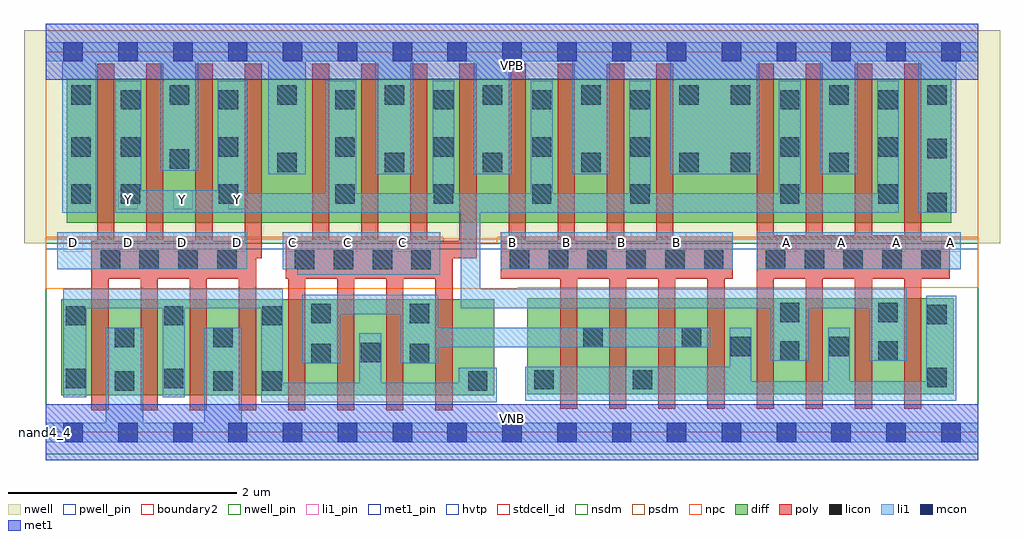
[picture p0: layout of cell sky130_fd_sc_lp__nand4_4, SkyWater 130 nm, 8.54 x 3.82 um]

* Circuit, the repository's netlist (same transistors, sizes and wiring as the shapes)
* Copyright 2020 The SkyWater PDK Authors
*
* Licensed under the Apache License, Version 2.0 (the "License");
* you may not use this file except in compliance with the License.
* You may obtain a copy of the License at
*
*     https://www.apache.org/licenses/LICENSE-2.0
*
* Unless required by applicable law or agreed to in writing, software
* distributed under the License is distributed on an "AS IS" BASIS,
* WITHOUT WARRANTIES OR CONDITIONS OF ANY KIND, either express or implied.
* See the License for the specific language governing permissions and
* limitations under the License.
*
* SPDX-License-Identifier: Apache-2.0

.SUBCKT sky130_fd_sc_lp__nand4_4 A B C D VGND VNB VPB VPWR Y
*.PININFO A:I B:I C:I D:I VGND:I VNB:I VPB:I VPWR:I Y:O
MMP0 Y A VPWR VPB sky130_fd_pr__pfet_01v8_hvt m=4 w=1.26U l=0.15U mult=1 sa=0.265
+ sb=0.265 sd=0.28 area=0.063 perim=1.14
MMP1 Y B VPWR VPB sky130_fd_pr__pfet_01v8_hvt m=4 w=1.26U l=0.15U mult=1 sa=0.265
+ sb=0.265 sd=0.28 area=0.063 perim=1.14
MMP3 Y D VPWR VPB sky130_fd_pr__pfet_01v8_hvt m=4 w=1.26U l=0.15U mult=1 sa=0.265
+ sb=0.265 sd=0.28 area=0.063 perim=1.14
MMP2 Y C VPWR VPB sky130_fd_pr__pfet_01v8_hvt m=4 w=1.26U l=0.15U mult=1 sa=0.265
+ sb=0.265 sd=0.28 area=0.063 perim=1.14
MMN0 Y A sndA VNB sky130_fd_pr__nfet_01v8 m=4 w=0.84U l=0.15U mult=1 sa=0.265 sb=0.265
+ sd=0.28 area=0.063 perim=1.14
MMN1 sndA B sndB VNB sky130_fd_pr__nfet_01v8 m=4 w=0.84U l=0.15U mult=1 sa=0.265
+ sb=0.265 sd=0.28 area=0.063 perim=1.14
MMN2 sndB C sndC VNB sky130_fd_pr__nfet_01v8 m=4 w=0.84U l=0.15U mult=1 sa=0.265
+ sb=0.265 sd=0.28 area=0.063 perim=1.14
MMN3 sndC D VGND VNB sky130_fd_pr__nfet_01v8 m=4 w=0.84U l=0.15U mult=1 sa=0.265
+ sb=0.265 sd=0.28 area=0.063 perim=1.14
.ENDS sky130_fd_sc_lp__nand4_4

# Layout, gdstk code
import gdstk
lib = gdstk.Library(unit=1e-6, precision=1e-09)
def R(c, l, rs):  # rectangles x0, y0, x1, y1
    for r in rs: c.add(gdstk.rectangle(r[:2], r[2:], *l))
def A(c, l, x, y, w, h, nx, ny, dx, dy):  # array of equal rectangles
    R(c, l, [(x+i*dx, y+j*dy, x+i*dx+w, y+j*dy+h) for i in range(nx) for j in range(ny)])
def P(c, l, *ps):  # polygons
    for p in ps: c.add(gdstk.Polygon(p, *l))
nwell_pin = (64, 16)
nwell = (64, 20)
diff = (65, 20)
poly = (66, 20)
licon = (66, 44)
li1_pin = (67, 16)
li1 = (67, 20)
mcon = (67, 44)
met1_pin = (68, 16)
met1 = (68, 20)
hvtp = (78, 44)
stdcell_id = (81, 4)
nsdm = (93, 44)
psdm = (94, 20)
npc = (95, 20)
pwell_pin = (122, 16)
boundary2 = (236, 0)

sky130_fd_sc_lp__nand4_4 = lib.new_cell('sky130_fd_sc_lp__nand4_4')
R(sky130_fd_sc_lp__nand4_4, nwell_pin, [(0,3.085,8.16,3.33)])
R(sky130_fd_sc_lp__nand4_4, nwell, [(-0.19,1.655,8.35,3.52)])
R(sky130_fd_sc_lp__nand4_4, diff, [(0.135,0.325,3.925,1.165), (4.215,0.335,7.945,1.175), (0.185,1.835,7.925,3.095)])
P(sky130_fd_sc_lp__nand4_4, poly, [(1.89,3.225),(1.74,3.225),(1.74,1.675),(1.46,1.675),(1.46,3.225),(1.31,3.225),(1.31,1.675),(1.03,1.675),(1.03,3.225),(0.88,3.225),(0.88,1.675),(0.6,1.675),(0.6,3.225),(0.45,3.225),(0.45,1.675),(0.4,1.675),(0.4,0.195),(0.55,0.195),(0.55,1.345),(0.83,1.345),(0.83,0.195),(0.98,0.195),(0.98,1.345),(1.26,1.345),(1.26,0.195),(1.41,0.195),(1.41,1.345),(1.69,1.345),(1.69,0.195),(1.84,0.195),(1.84,1.525),(1.89,1.525)],
  [(3.77,3.225),(3.62,3.225),(3.62,1.675),(3.34,1.675),(3.34,3.225),(3.19,3.225),(3.19,1.675),(2.91,1.675),(2.91,3.225),(2.76,3.225),(2.76,1.675),(2.48,1.675),(2.48,3.225),(2.33,3.225),(2.33,1.675),(2.1,1.675),(2.1,1.345),(2.12,1.345),(2.12,0.195),(2.27,0.195),(2.27,1.345),(2.55,1.345),(2.55,0.195),(2.7,0.195),(2.7,1.345),(2.98,1.345),(2.98,0.195),(3.13,0.195),(3.13,1.345),(3.41,1.345),(3.41,0.195),(3.56,0.195),(3.56,1.525),(3.77,1.525)],
  [(6.01,1.675),(5.49,1.675),(5.49,3.225),(5.34,3.225),(5.34,1.675),(5.06,1.675),(5.06,3.225),(4.91,3.225),(4.91,1.675),(4.63,1.675),(4.63,3.225),(4.48,3.225),(4.48,1.675),(4.2,1.675),(4.2,3.225),(4.05,3.225),(4.05,1.675),(3.98,1.675),(3.98,1.345),(4.5,1.345),(4.5,0.205),(4.65,0.205),(4.65,1.345),(4.93,1.345),(4.93,0.205),(5.08,0.205),(5.08,1.345),(5.36,1.345),(5.36,0.205),(5.51,0.205),(5.51,1.345),(5.79,1.345),(5.79,0.205),(5.94,0.205),(5.94,1.345),(6.01,1.345)],
  [(7.91,1.675),(7.66,1.675),(7.66,3.225),(7.51,3.225),(7.51,1.725),(7.23,1.725),(7.23,3.225),(7.08,3.225),(7.08,1.725),(6.8,1.725),(6.8,3.225),(6.65,3.225),(6.65,1.725),(6.37,1.725),(6.37,3.225),(6.22,3.225),(6.22,0.205),(6.37,0.205),(6.37,1.345),(6.65,1.345),(6.65,0.205),(6.8,0.205),(6.8,1.345),(7.08,1.345),(7.08,0.205),(7.23,0.205),(7.23,1.345),(7.51,1.345),(7.51,0.205),(7.66,0.205),(7.66,1.345),(7.91,1.345)])
A(sky130_fd_sc_lp__nand4_4, licon, 0.175, 0.935, 0.17, 0.17, 3, 1, 0.86, 0)
A(sky130_fd_sc_lp__nand4_4, licon, 0.48, 1.425, 0.17, 0.17, 4, 1, 0.34, 0)
A(sky130_fd_sc_lp__nand4_4, licon, 2.18, 1.425, 0.17, 0.17, 4, 1, 0.34, 0)
A(sky130_fd_sc_lp__nand4_4, licon, 4.06, 1.425, 0.17, 0.17, 6, 1, 0.34, 0)
A(sky130_fd_sc_lp__nand4_4, licon, 6.3, 1.425, 0.17, 0.17, 5, 1, 0.34, 0)
A(sky130_fd_sc_lp__nand4_4, licon, 2.535, 2, 0.17, 0.17, 4, 2, 0.86, 0.41)
A(sky130_fd_sc_lp__nand4_4, licon, 2.965, 2.275, 0.17, 0.17, 4, 1, 0.86, 0)
A(sky130_fd_sc_lp__nand4_4, licon, 2.535, 2.825, 0.17, 0.17, 4, 1, 0.86, 0)
A(sky130_fd_sc_lp__nand4_4, licon, 1.085, 2.865, 0.17, 0.17, 3, 1, 0.94, 0)
A(sky130_fd_sc_lp__nand4_4, licon, 3.825, 2.865, 0.17, 0.17, 3, 1, 0.86, 0)
A(sky130_fd_sc_lp__nand4_4, licon, 5.995, 2.865, 0.17, 0.17, 3, 1, 0.86, 0)
R(sky130_fd_sc_lp__nand4_4, licon, [(0.605,0.365,0.775,0.535), (1.465,0.365,1.635,0.535), (1.895,0.365,2.065,0.535), (3.695,0.365,3.865,0.535), (4.275,0.375,4.445,0.545), (5.135,0.375,5.305,0.545), (0.175,0.385,0.345,0.555), (1.035,0.385,1.205,0.555), (7.715,0.395,7.885,0.565), (2.325,0.605,2.495,0.775), (3.185,0.605,3.355,0.775), (2.755,0.615,2.925,0.785), (6.425,0.625,6.595,0.795), (7.285,0.625,7.455,0.795), (5.995,0.665,6.165,0.835), (6.855,0.665,7.025,0.835), (0.605,0.745,0.775,0.915), (1.465,0.745,1.635,0.915), (4.705,0.745,4.875,0.915), (5.565,0.745,5.735,0.915), (7.715,0.945,7.885,1.115), (2.325,0.955,2.495,1.125), (3.185,0.955,3.355,1.125), (6.425,0.965,6.595,1.135), (7.285,0.965,7.455,1.135), (7.715,1.925,7.885,2.095), (0.225,2,0.395,2.17), (0.655,2,0.825,2.17), (1.515,2,1.685,2.17), (6.425,2,6.595,2.17), (7.285,2,7.455,2.17), (2.025,2.275,2.195,2.445), (5.995,2.275,6.165,2.445), (6.855,2.275,7.025,2.445), (1.085,2.305,1.255,2.475), (7.715,2.4,7.885,2.57), (0.225,2.41,0.395,2.58), (0.655,2.41,0.825,2.58), (1.515,2.41,1.685,2.58), (6.425,2.41,6.595,2.58), (7.285,2.41,7.455,2.58), (0.655,2.825,0.825,2.995), (1.515,2.825,1.685,2.995), (6.425,2.825,6.595,2.995), (7.285,2.825,7.455,2.995), (0.225,2.865,0.395,3.035)])
A(sky130_fd_sc_lp__nand4_4, li1_pin, 0.155, 1.58, 0.17, 0.17, 7, 1, 0.48, 0)
A(sky130_fd_sc_lp__nand4_4, li1_pin, 3.995, 1.58, 0.17, 0.17, 4, 1, 0.48, 0)
A(sky130_fd_sc_lp__nand4_4, li1_pin, 6.395, 1.58, 0.17, 0.17, 4, 1, 0.48, 0)
A(sky130_fd_sc_lp__nand4_4, li1_pin, 0.635, 1.95, 0.17, 0.17, 3, 1, 0.48, 0)
R(sky130_fd_sc_lp__nand4_4, li1, [(0.1,1.425,1.765,1.75), (3.98,1.425,6.01,1.75), (6.22,1.425,8.005,1.75)])
P(sky130_fd_sc_lp__nand4_4, li1, [(1.005,2.29),(1.005,3.245),(0.44,3.245),(0.44,1.92),(0.145,1.92),(0.145,3.245),(0,3.245),(0,3.415),(8.16,3.415),(8.16,3.245),(7.965,3.245),(7.965,1.92),(7.635,1.92),(7.635,3.245),(7.105,3.245),(7.105,2.26),(6.775,2.26),(6.775,3.245),(6.245,3.245),(6.245,2.26),(5.465,2.26),(5.465,3.245),(4.935,3.245),(4.935,2.26),(4.605,2.26),(4.605,3.245),(4.075,3.245),(4.075,2.26),(3.745,2.26),(3.745,3.245),(3.215,3.245),(3.215,2.26),(2.885,2.26),(2.885,3.245),(2.275,3.245),(2.275,2.26),(1.945,2.26),(1.945,3.245),(1.335,3.245),(1.335,2.29)],
  [(1.385,0.085),(1.385,0.915),(1.715,0.915),(1.715,0.085),(8.16,0.085),(8.16,-0.085),(0,-0.085),(0,0.085),(0.525,0.085),(0.525,0.915),(0.855,0.915),(0.855,0.085)],
  [(3.45,1.75),(2.075,1.75),(2.075,1.425),(2.2,1.425),(2.2,1.38),(3.45,1.38)],
  [(6.605,2.09),(7.275,2.09),(7.275,3.075),(7.465,3.075),(7.465,1.92),(3.8,1.92),(3.8,1.255),(7.535,1.255),(7.535,0.625),(7.205,0.625),(7.205,1.085),(6.675,1.085),(6.675,0.625),(6.345,0.625),(6.345,1.085),(3.63,1.085),(3.63,1.92),(0.61,1.92),(0.61,3.075),(0.835,3.075),(0.835,2.12),(1.505,2.12),(1.505,3.075),(1.765,3.075),(1.765,2.09),(2.445,2.09),(2.445,3.075),(2.715,3.075),(2.715,2.09),(3.385,2.09),(3.385,3.075),(3.575,3.075),(3.575,2.09),(4.245,2.09),(4.245,3.075),(4.435,3.075),(4.435,2.09),(5.105,2.09),(5.105,3.075),(5.295,3.075),(5.295,2.09),(6.415,2.09),(6.415,3.075),(6.605,3.075)],
  [(7.035,0.445),(7.705,0.445),(7.705,1.195),(7.965,1.195),(7.965,0.275),(4.195,0.275),(4.195,0.575),(5.985,0.575),(5.985,0.915),(6.175,0.915),(6.175,0.445),(6.845,0.445),(6.845,0.915),(7.035,0.915)],
  [(3.435,0.915),(5.815,0.915),(5.815,0.745),(3.435,0.745),(3.435,0.605),(3.105,0.605),(3.105,1.035),(2.575,1.035),(2.575,0.605),(2.245,0.605),(2.245,1.205),(3.435,1.205)],
  [(2.935,0.435),(3.615,0.435),(3.615,0.565),(3.945,0.565),(3.945,0.265),(1.885,0.265),(1.885,1.085),(1.215,1.085),(1.215,0.305),(1.025,0.305),(1.025,1.085),(0.355,1.085),(0.355,0.305),(0.155,0.305),(0.155,1.255),(2.075,1.255),(2.075,0.435),(2.745,0.435),(2.745,0.865),(2.935,0.865)])
A(sky130_fd_sc_lp__nand4_4, mcon, 0.155, -0.085, 0.17, 0.17, 17, 2, 0.48, 3.33)
R(sky130_fd_sc_lp__nand4_4, met1_pin, [(0,0,8.16,0.245), (0,3.085,8.16,3.33)])
R(sky130_fd_sc_lp__nand4_4, met1, [(0,-0.245,8.16,0.245), (0,3.085,8.16,3.575)])
R(sky130_fd_sc_lp__nand4_4, hvtp, [(0,1.6,8.16,3.33)])
R(sky130_fd_sc_lp__nand4_4, stdcell_id, [(0,0,8.16,3.33)])
R(sky130_fd_sc_lp__nand4_4, nsdm, [(0,-0.19,8.16,1.655)])
P(sky130_fd_sc_lp__nand4_4, psdm, [(8.16,3.52),(0,3.52),(0,1.705),(3.48,1.705),(3.48,1.655),(3.95,1.655),(3.95,1.705),(8.16,1.705)])
P(sky130_fd_sc_lp__nand4_4, npc, [(8.16,1.695),(0,1.695),(0,1.255),(4.125,1.255),(4.125,1.265),(8.16,1.265)])
R(sky130_fd_sc_lp__nand4_4, pwell_pin, [(0,0,8.16,0.245)])
R(sky130_fd_sc_lp__nand4_4, boundary2, [(0,0,8.16,3.33)])
sky130_fd_sc_lp__nand4_4.add(gdstk.Label('VNB', (4.08,0.123), layer=64, texttype=59))
sky130_fd_sc_lp__nand4_4.add(gdstk.Label('VPB', (4.08,3.208), layer=64, texttype=5))
sky130_fd_sc_lp__nand4_4.add(gdstk.Label('nand4_4', (0,0), layer=83, texttype=44))
sky130_fd_sc_lp__nand4_4.add(gdstk.Label('VPWR', (4.08,3.208), layer=68, texttype=5))
sky130_fd_sc_lp__nand4_4.add(gdstk.Label('VGND', (4.08,0.123), layer=68, texttype=5))
sky130_fd_sc_lp__nand4_4.add(gdstk.Label('A', (6.48,1.665), layer=67, texttype=5))
sky130_fd_sc_lp__nand4_4.add(gdstk.Label('A', (6.96,1.665), layer=67, texttype=5))
sky130_fd_sc_lp__nand4_4.add(gdstk.Label('A', (7.44,1.665), layer=67, texttype=5))
sky130_fd_sc_lp__nand4_4.add(gdstk.Label('A', (7.92,1.665), layer=67, texttype=5))
sky130_fd_sc_lp__nand4_4.add(gdstk.Label('B', (4.08,1.665), layer=67, texttype=5))
sky130_fd_sc_lp__nand4_4.add(gdstk.Label('B', (4.56,1.665), layer=67, texttype=5))
sky130_fd_sc_lp__nand4_4.add(gdstk.Label('B', (5.04,1.665), layer=67, texttype=5))
sky130_fd_sc_lp__nand4_4.add(gdstk.Label('B', (5.52,1.665), layer=67, texttype=5))
sky130_fd_sc_lp__nand4_4.add(gdstk.Label('C', (2.16,1.665), layer=67, texttype=5))
sky130_fd_sc_lp__nand4_4.add(gdstk.Label('C', (2.64,1.665), layer=67, texttype=5))
sky130_fd_sc_lp__nand4_4.add(gdstk.Label('C', (3.12,1.665), layer=67, texttype=5))
sky130_fd_sc_lp__nand4_4.add(gdstk.Label('D', (0.24,1.665), layer=67, texttype=5))
sky130_fd_sc_lp__nand4_4.add(gdstk.Label('D', (0.72,1.665), layer=67, texttype=5))
sky130_fd_sc_lp__nand4_4.add(gdstk.Label('D', (1.2,1.665), layer=67, texttype=5))
sky130_fd_sc_lp__nand4_4.add(gdstk.Label('D', (1.68,1.665), layer=67, texttype=5))
sky130_fd_sc_lp__nand4_4.add(gdstk.Label('Y', (0.72,2.035), layer=67, texttype=5))
sky130_fd_sc_lp__nand4_4.add(gdstk.Label('Y', (1.2,2.035), layer=67, texttype=5))
sky130_fd_sc_lp__nand4_4.add(gdstk.Label('Y', (1.68,2.035), layer=67, texttype=5))

lib.write_gds('sky130_fd_sc_lp__nand4_4.gds')
